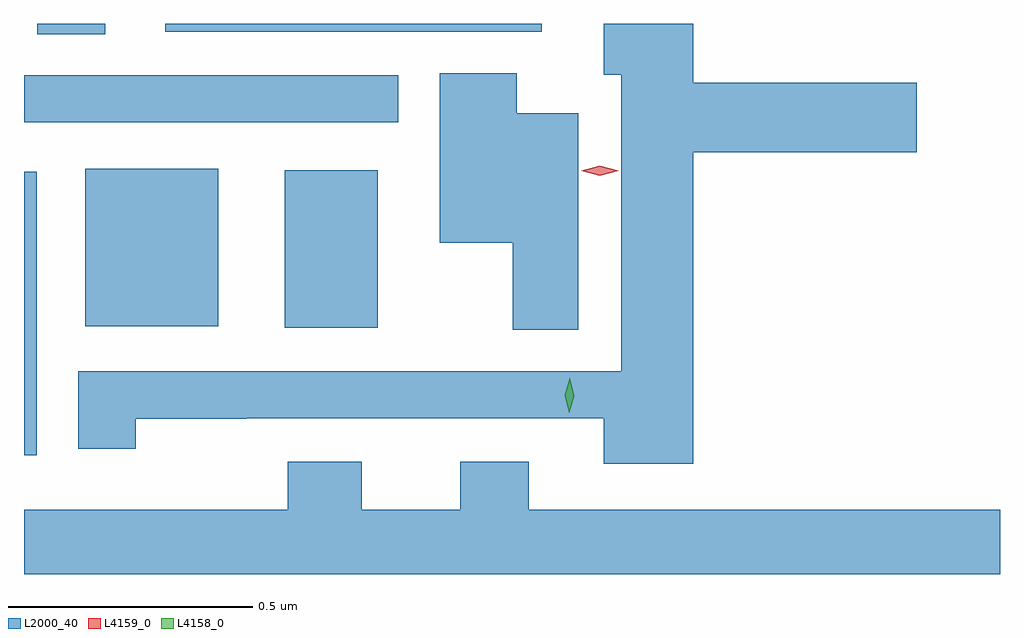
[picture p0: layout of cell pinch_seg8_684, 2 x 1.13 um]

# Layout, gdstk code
import gdstk
lib = gdstk.Library(unit=1e-6, precision=1e-09)
def R(c, l, rs):  # rectangles x0, y0, x1, y1
    for r in rs: c.add(gdstk.rectangle(r[:2], r[2:], *l))
def P(c, l, *ps):  # polygons
    for p in ps: c.add(gdstk.Polygon(p, *l))
L2000_40 = (2000, 40)
L4158_0 = (4158, 0)
L4159_0 = (4159, 0)

pinch_seg8_684 = lib.new_cell('pinch_seg8_684')
R(pinch_seg8_684, L2000_40, [(267.8,1082.144,267.826,1082.725), (268.334,1082.405,268.525,1082.728), (267.926,1082.408,268.198,1082.731), (267.8,1082.826,268.567,1082.922), (267.827,1083.007,267.967,1083.028), (268.089,1083.012,268.861,1083.028)])
P(pinch_seg8_684, L2000_40, [(269.171,1082.765),(269.629,1082.765),(269.629,1082.907),(269.171,1082.907),(269.171,1083.028),(268.988,1083.028),(268.988,1082.924),(269.024,1082.924),(269.024,1082.316),(267.911,1082.316),(267.911,1082.157),(268.029,1082.157),(268.029,1082.219),(268.256,1082.219),(268.256,1082.22),(268.988,1082.22),(268.988,1082.126),(269.171,1082.126)],
  [(268.936,1082.845),(268.81,1082.845),(268.81,1082.927),(268.652,1082.927),(268.652,1082.579),(268.802,1082.579),(268.802,1082.401),(268.936,1082.401)],
  [(269.8,1082.032),(268.834,1082.032),(268.834,1082.131),(268.694,1082.131),(268.694,1082.032),(268.492,1082.032),(268.492,1082.131),(268.34,1082.131),(268.34,1082.032),(267.8,1082.032),(267.8,1081.9),(269.8,1081.9)])
P(pinch_seg8_684, L4158_0, [(268.917,1082.231),(268.917,1082.231),(268.908,1082.267),(268.918,1082.302),(268.918,1082.303),(268.918,1082.302),(268.928,1082.266),(268.917,1082.231)])
P(pinch_seg8_684, L4159_0, [(268.98,1082.717),(268.942,1082.727),(268.942,1082.727),(268.942,1082.727),(268.98,1082.737),(269.019,1082.727),(269.019,1082.727),(269.019,1082.727)])

lib.write_gds('pinch_seg8_684.gds')
